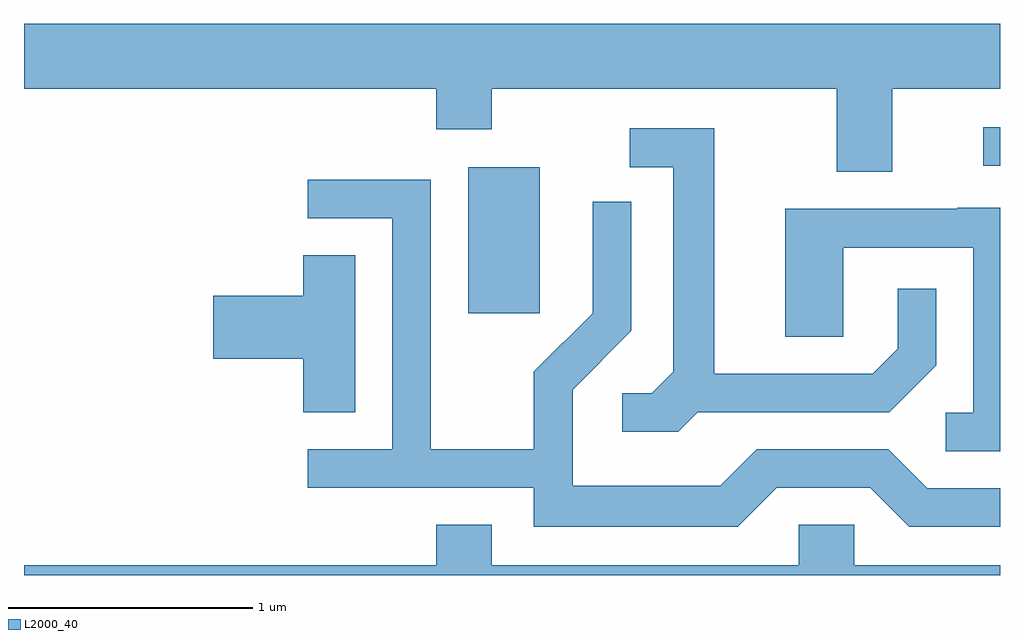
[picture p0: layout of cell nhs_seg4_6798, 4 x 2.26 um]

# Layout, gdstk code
import gdstk
lib = gdstk.Library(unit=1e-6, precision=1e-09)
def R(c, l, rs):  # rectangles x0, y0, x1, y1
    for r in rs: c.add(gdstk.rectangle(r[:2], r[2:], *l))
def P(c, l, *ps):  # polygons
    for p in ps: c.add(gdstk.Polygon(p, *l))
L2000_40 = (2000, 40)

nhs_seg4_6798 = lib.new_cell('nhs_seg4_6798')
R(nhs_seg4_6798, L2000_40, [(385.431,1387.056,385.724,1387.654), (387.543,1387.661,387.611,1387.819)])
P(nhs_seg4_6798, L2000_40, [(387.169,1387.976),(387.611,1387.976),(387.611,1388.244),(383.611,1388.244),(383.611,1387.976),(385.301,1387.976),(385.301,1387.811),(385.529,1387.811),(385.529,1387.976),(386.941,1387.976),(386.941,1387.636),(387.169,1387.636)],
  [(386.372,1386.651),(387.157,1386.651),(387.349,1386.844),(387.349,1387.158),(387.191,1387.158),(387.191,1386.912),(387.089,1386.809),(386.439,1386.809),(386.439,1387.814),(386.093,1387.814),(386.093,1387.656),(386.271,1387.656),(386.271,1386.817),(386.184,1386.729),(386.063,1386.729),(386.063,1386.571),(386.292,1386.571)],
  [(386.697,1386.341),(387.079,1386.341),(387.239,1386.181),(387.611,1386.181),(387.611,1386.339),(387.312,1386.339),(387.152,1386.499),(386.614,1386.499),(386.464,1386.349),(385.859,1386.349),(385.859,1386.744),(386.099,1386.984),(386.099,1387.513),(385.941,1387.513),(385.941,1387.057),(385.701,1386.817),(385.701,1386.499),(385.279,1386.499),(385.279,1387.604),(384.773,1387.604),(384.773,1387.446),(385.121,1387.446),(385.121,1386.499),(384.773,1386.499),(384.773,1386.341),(385.701,1386.341),(385.701,1386.181),(386.537,1386.181)],
  [(387.611,1387.489),(387.435,1387.489),(387.435,1387.484),(386.731,1387.484),(386.731,1386.961),(386.969,1386.961),(386.969,1387.326),(387.501,1387.326),(387.501,1386.649),(387.388,1386.649),(387.388,1386.491),(387.611,1386.491)],
  [(384.969,1387.294),(384.756,1387.294),(384.756,1387.129),(384.386,1387.129),(384.386,1386.871),(384.756,1386.871),(384.756,1386.651),(384.969,1386.651)],
  [(387.611,1386.024),(387.014,1386.024),(387.014,1386.189),(386.786,1386.189),(386.786,1386.024),(385.529,1386.024),(385.529,1386.189),(385.301,1386.189),(385.301,1386.024),(383.611,1386.024),(383.611,1385.982),(387.611,1385.982)])

lib.write_gds('nhs_seg4_6798.gds')
